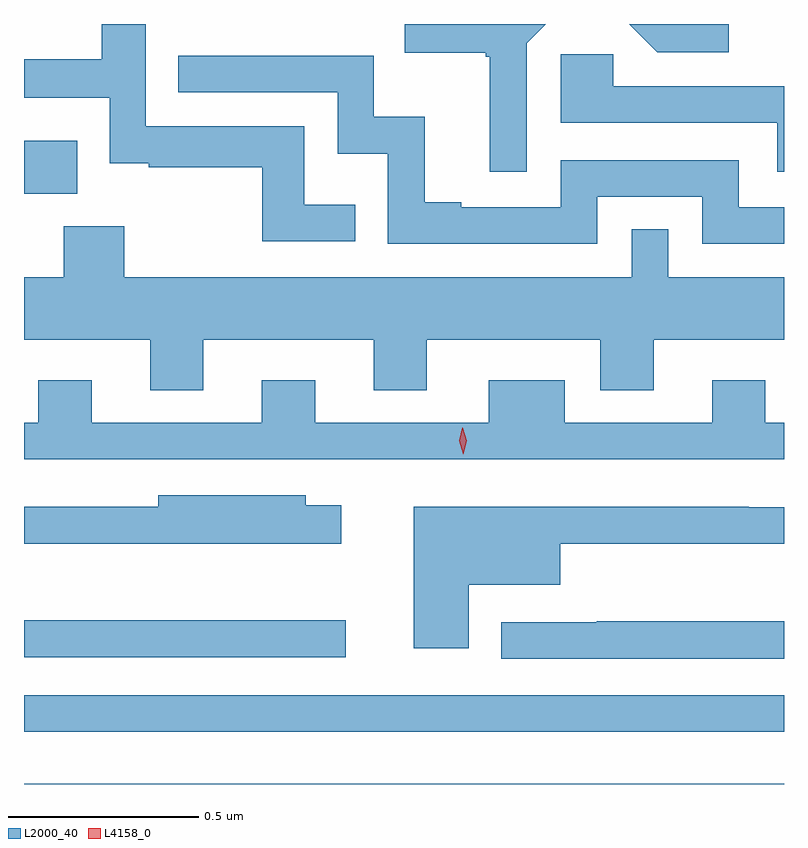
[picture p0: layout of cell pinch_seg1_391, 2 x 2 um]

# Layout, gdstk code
import gdstk
lib = gdstk.Library(unit=1e-6, precision=1e-09)
def R(c, l, rs):  # rectangles x0, y0, x1, y1
    for r in rs: c.add(gdstk.rectangle(r[:2], r[2:], *l))
def P(c, l, *ps):  # polygons
    for p in ps: c.add(gdstk.Polygon(p, *l))
L2000_40 = (2000, 40)
L4158_0 = (4158, 0)

pinch_seg1_391 = lib.new_cell('pinch_seg1_391')
R(pinch_seg1_391, L2000_40, [(977.721,530.583,979.721,530.584), (977.721,530.72,979.721,530.817), (977.721,530.916,978.568,531.014), (977.721,532.136,977.861,532.276)])
P(pinch_seg1_391, L2000_40, [(979.576,532.583),(979.314,532.583),(979.388,532.509),(979.576,532.509)],
  [(979.044,532.533),(979.094,532.583),(978.723,532.583),(978.723,532.508),(978.936,532.508),(978.936,532.497),(978.947,532.497),(978.947,532.194),(979.044,532.194)],
  [(978.593,532.108),(978.459,532.108),(978.459,532.314),(978.042,532.314),(978.042,532.583),(977.926,532.583),(977.926,532.49),(977.721,532.49),(977.721,532.389),(977.946,532.389),(977.946,532.217),(978.049,532.217),(978.049,532.206),(978.348,532.206),(978.348,532.011),(978.593,532.011)],
  [(979.721,532.419),(979.271,532.419),(979.271,532.503),(979.134,532.503),(979.134,532.323),(979.703,532.323),(979.703,532.194),(979.721,532.194)],
  [(979.23,532.128),(979.506,532.128),(979.506,532.005),(979.721,532.005),(979.721,532.101),(979.602,532.101),(979.602,532.224),(979.134,532.224),(979.134,532.101),(978.871,532.101),(978.871,532.114),(978.775,532.114),(978.775,532.339),(978.642,532.339),(978.642,532.5),(978.127,532.5),(978.127,532.404),(978.546,532.404),(978.546,532.241),(978.678,532.241),(978.678,532.005),(979.23,532.005)],
  [(978.193,531.752),(978.641,531.752),(978.641,531.619),(978.781,531.619),(978.781,531.752),(979.238,531.752),(979.238,531.619),(979.378,531.619),(979.378,531.752),(979.721,531.752),(979.721,531.916),(979.416,531.916),(979.416,532.043),(979.32,532.043),(979.32,531.916),(977.985,531.916),(977.985,532.051),(977.825,532.051),(977.825,531.916),(977.721,531.916),(977.721,531.752),(978.053,531.752),(978.053,531.619),(978.193,531.619)],
  [(979.721,531.534),(979.672,531.534),(979.672,531.646),(979.532,531.646),(979.532,531.534),(979.144,531.534),(979.144,531.646),(978.944,531.646),(978.944,531.534),(978.487,531.534),(978.487,531.646),(978.347,531.646),(978.347,531.534),(977.899,531.534),(977.899,531.646),(977.759,531.646),(977.759,531.534),(977.721,531.534),(977.721,531.438),(979.721,531.438)],
  [(978.556,531.316),(978.462,531.316),(978.462,531.343),(978.074,531.343),(978.074,531.312),(977.721,531.312),(977.721,531.215),(978.556,531.215)],
  [(978.892,531.107),(979.132,531.107),(979.132,531.215),(979.721,531.215),(979.721,531.311),(979.628,531.311),(979.628,531.312),(979.028,531.312),(979.028,531.313),(978.746,531.313),(978.746,530.94),(978.892,530.94)],
  [(979.721,531.011),(979.228,531.011),(979.228,531.009),(978.977,531.009),(978.977,530.913),(979.721,530.913)])
P(pinch_seg1_391, L4158_0, [(978.877,531.451),(978.877,531.451),(978.866,531.486),(978.874,531.521),(978.874,531.521),(978.875,531.521),(978.886,531.486),(978.877,531.451)])

lib.write_gds('pinch_seg1_391.gds')
